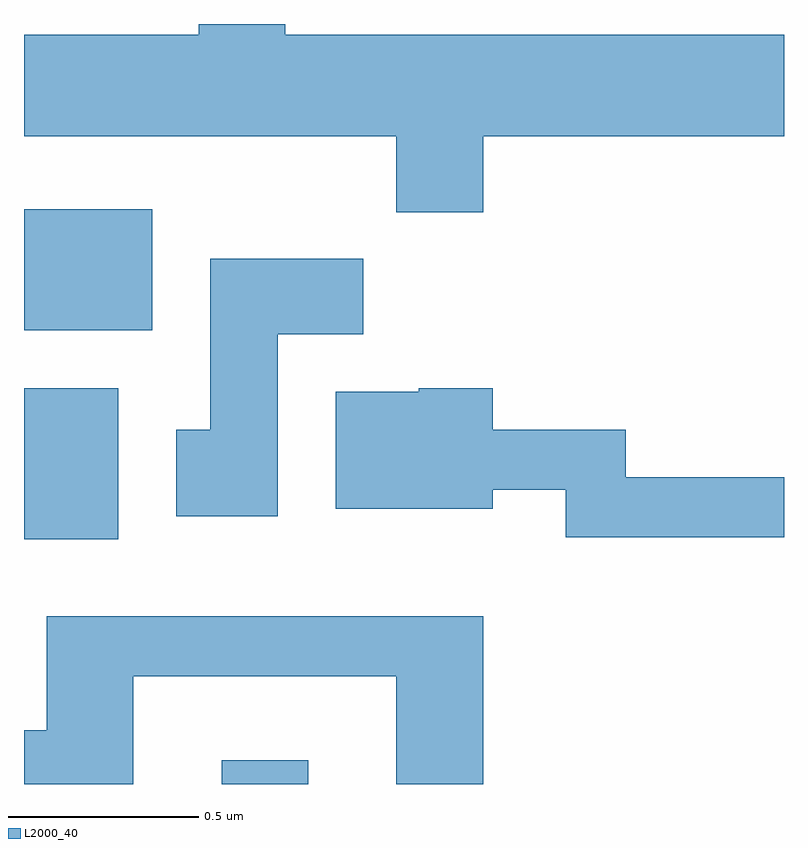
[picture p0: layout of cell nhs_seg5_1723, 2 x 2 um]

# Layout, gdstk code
import gdstk
lib = gdstk.Library(unit=1e-6, precision=1e-09)
def R(c, l, rs):  # rectangles x0, y0, x1, y1
    for r in rs: c.add(gdstk.rectangle(r[:2], r[2:], *l))
def P(c, l, *ps):  # polygons
    for p in ps: c.add(gdstk.Polygon(p, *l))
L2000_40 = (2000, 40)

nhs_seg5_1723 = lib.new_cell('nhs_seg5_1723')
R(nhs_seg5_1723, L2000_40, [(198.131,1475.072,198.359,1475.134), (197.611,1475.716,197.859,1476.114), (197.611,1476.266,197.949,1476.584)])
P(nhs_seg5_1723, L2000_40, [(198.819,1476.776),(199.611,1476.776),(199.611,1477.044),(198.299,1477.044),(198.299,1477.072),(198.071,1477.072),(198.071,1477.044),(197.611,1477.044),(197.611,1476.776),(198.591,1476.776),(198.591,1476.576),(198.819,1476.576)],
  [(198.279,1476.256),(198.504,1476.256),(198.504,1476.454),(198.101,1476.454),(198.101,1476.004),(198.011,1476.004),(198.011,1475.776),(198.279,1475.776)],
  [(199.611,1475.879),(199.194,1475.879),(199.194,1476.004),(198.844,1476.004),(198.844,1476.114),(198.65,1476.114),(198.65,1476.104),(198.431,1476.104),(198.431,1475.796),(198.844,1475.796),(198.844,1475.846),(199.036,1475.846),(199.036,1475.721),(199.611,1475.721)],
  [(197.899,1475.356),(198.591,1475.356),(198.591,1475.072),(198.819,1475.072),(198.819,1475.514),(197.671,1475.514),(197.671,1475.214),(197.611,1475.214),(197.611,1475.072),(197.899,1475.072)])

lib.write_gds('nhs_seg5_1723.gds')
